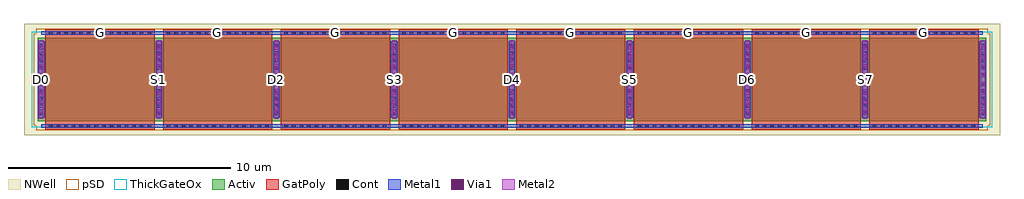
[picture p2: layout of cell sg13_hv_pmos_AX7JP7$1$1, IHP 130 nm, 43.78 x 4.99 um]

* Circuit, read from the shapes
.subckt sg13_hv_pmos_AX7JP7$1$1 D0 D2 D4 D6 G S1 S3 S5 S7
XM1 S1 G D0 n1 sg13_hv_pmos w=3.75u l=4.9u
XM2 D2 G S1 n1 sg13_hv_pmos w=3.75u l=4.9u
XM3 S3 G D2 n1 sg13_hv_pmos w=3.75u l=4.9u
XM4 D4 G S3 n1 sg13_hv_pmos w=3.75u l=4.9u
XM5 S5 G D4 n1 sg13_hv_pmos w=3.75u l=4.9u
XM6 D6 G S5 n1 sg13_hv_pmos w=3.75u l=4.9u
XM7 S7 G D6 n1 sg13_hv_pmos w=3.75u l=4.9u
XM8 n2 G S7 n1 sg13_hv_pmos w=3.75u l=4.9u
.ends

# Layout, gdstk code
import gdstk
lib = gdstk.Library(unit=1e-6, precision=1e-09)
def R(c, l, rs):  # rectangles x0, y0, x1, y1
    for r in rs: c.add(gdstk.rectangle(r[:2], r[2:], *l))
def A(c, l, x, y, w, h, nx, ny, dx, dy):  # array of equal rectangles
    R(c, l, [(x+i*dx, y+j*dy, x+i*dx+w, y+j*dy+h) for i in range(nx) for j in range(ny)])
Activ = (1, 0)
GatPoly = (5, 0)
Cont = (6, 0)
Metal1 = (8, 0)
Metal2 = (10, 0)
pSD = (14, 0)
Via1 = (19, 0)
NWell = (31, 0)
ThickGateOx = (44, 0)

sg13_hv_pmos_ax7jp7_1_1 = lib.new_cell('sg13_hv_pmos_AX7JP7$1$1')
R(sg13_hv_pmos_ax7jp7_1_1, Activ, [(-21.27,-1.875,21.27,1.875)])
A(sg13_hv_pmos_ax7jp7_1_1, GatPoly, -20.93, -2.245, 4.9, 4.49, 8, 1, 5.28, 0)
A(sg13_hv_pmos_ax7jp7_1_1, Cont, -20.77, -2.175, 0.16, 0.16, 14, 2, 0.34, 4.19)
A(sg13_hv_pmos_ax7jp7_1_1, Cont, -15.49, -2.175, 0.16, 0.16, 14, 2, 0.34, 4.19)
A(sg13_hv_pmos_ax7jp7_1_1, Cont, -10.21, -2.175, 0.16, 0.16, 14, 2, 0.34, 4.19)
A(sg13_hv_pmos_ax7jp7_1_1, Cont, -4.93, -2.175, 0.16, 0.16, 14, 2, 0.34, 4.19)
A(sg13_hv_pmos_ax7jp7_1_1, Cont, 0.35, -2.175, 0.16, 0.16, 14, 2, 0.34, 4.19)
A(sg13_hv_pmos_ax7jp7_1_1, Cont, 5.63, -2.175, 0.16, 0.16, 14, 2, 0.34, 4.19)
A(sg13_hv_pmos_ax7jp7_1_1, Cont, 10.91, -2.175, 0.16, 0.16, 14, 2, 0.34, 4.19)
A(sg13_hv_pmos_ax7jp7_1_1, Cont, 16.19, -2.175, 0.16, 0.16, 14, 2, 0.34, 4.19)
A(sg13_hv_pmos_ax7jp7_1_1, Cont, -21.2, -1.61, 0.16, 0.16, 9, 10, 5.28, 0.34)
A(sg13_hv_pmos_ax7jp7_1_1, Metal1, -21.27, -1.715, 0.3, 3.43, 9, 1, 5.28, 0)
R(sg13_hv_pmos_ax7jp7_1_1, Metal1, [(-21.12,-2.175,21.12,-2.015), (-21.12,2.015,21.12,2.175)])
A(sg13_hv_pmos_ax7jp7_1_1, Metal2, -21.22, -1.755, 0.2, 3.51, 9, 1, 5.28, 0)
R(sg13_hv_pmos_ax7jp7_1_1, pSD, [(-21.33,-2.275,21.33,-2.055), (-21.45,-2.055,21.45,2.055), (-21.33,2.055,21.33,2.275)])
A(sg13_hv_pmos_ax7jp7_1_1, Via1, -21.215, -1.53, 0.19, 0.19, 9, 8, 5.28, 0.41)
R(sg13_hv_pmos_ax7jp7_1_1, NWell, [(-21.89,-2.495,21.89,2.495)])
R(sg13_hv_pmos_ax7jp7_1_1, ThickGateOx, [(-21.54,-2.145,21.54,2.145)])
sg13_hv_pmos_ax7jp7_1_1.add(gdstk.Label('D0', (-21.12,0), layer=8, texttype=25))
sg13_hv_pmos_ax7jp7_1_1.add(gdstk.Label('G', (18.48,2.095), layer=8, texttype=25))
sg13_hv_pmos_ax7jp7_1_1.add(gdstk.Label('G', (13.2,2.095), layer=8, texttype=25))
sg13_hv_pmos_ax7jp7_1_1.add(gdstk.Label('G', (7.92,2.095), layer=8, texttype=25))
sg13_hv_pmos_ax7jp7_1_1.add(gdstk.Label('G', (2.64,2.095), layer=8, texttype=25))
sg13_hv_pmos_ax7jp7_1_1.add(gdstk.Label('G', (-2.64,2.095), layer=8, texttype=25))
sg13_hv_pmos_ax7jp7_1_1.add(gdstk.Label('G', (-7.92,2.095), layer=8, texttype=25))
sg13_hv_pmos_ax7jp7_1_1.add(gdstk.Label('G', (-13.2,2.095), layer=8, texttype=25))
sg13_hv_pmos_ax7jp7_1_1.add(gdstk.Label('G', (-18.48,2.095), layer=8, texttype=25))
sg13_hv_pmos_ax7jp7_1_1.add(gdstk.Label('S1', (-15.84,0), layer=8, texttype=25))
sg13_hv_pmos_ax7jp7_1_1.add(gdstk.Label('D2', (-10.56,0), layer=8, texttype=25))
sg13_hv_pmos_ax7jp7_1_1.add(gdstk.Label('S3', (-5.28,0), layer=8, texttype=25))
sg13_hv_pmos_ax7jp7_1_1.add(gdstk.Label('D4', (0,0), layer=8, texttype=25))
sg13_hv_pmos_ax7jp7_1_1.add(gdstk.Label('S5', (5.28,0), layer=8, texttype=25))
sg13_hv_pmos_ax7jp7_1_1.add(gdstk.Label('D6', (10.56,0), layer=8, texttype=25))
sg13_hv_pmos_ax7jp7_1_1.add(gdstk.Label('S7', (15.84,0), layer=8, texttype=25))

lib.write_gds('sg13_hv_pmos_AX7JP7_1_1.gds')
